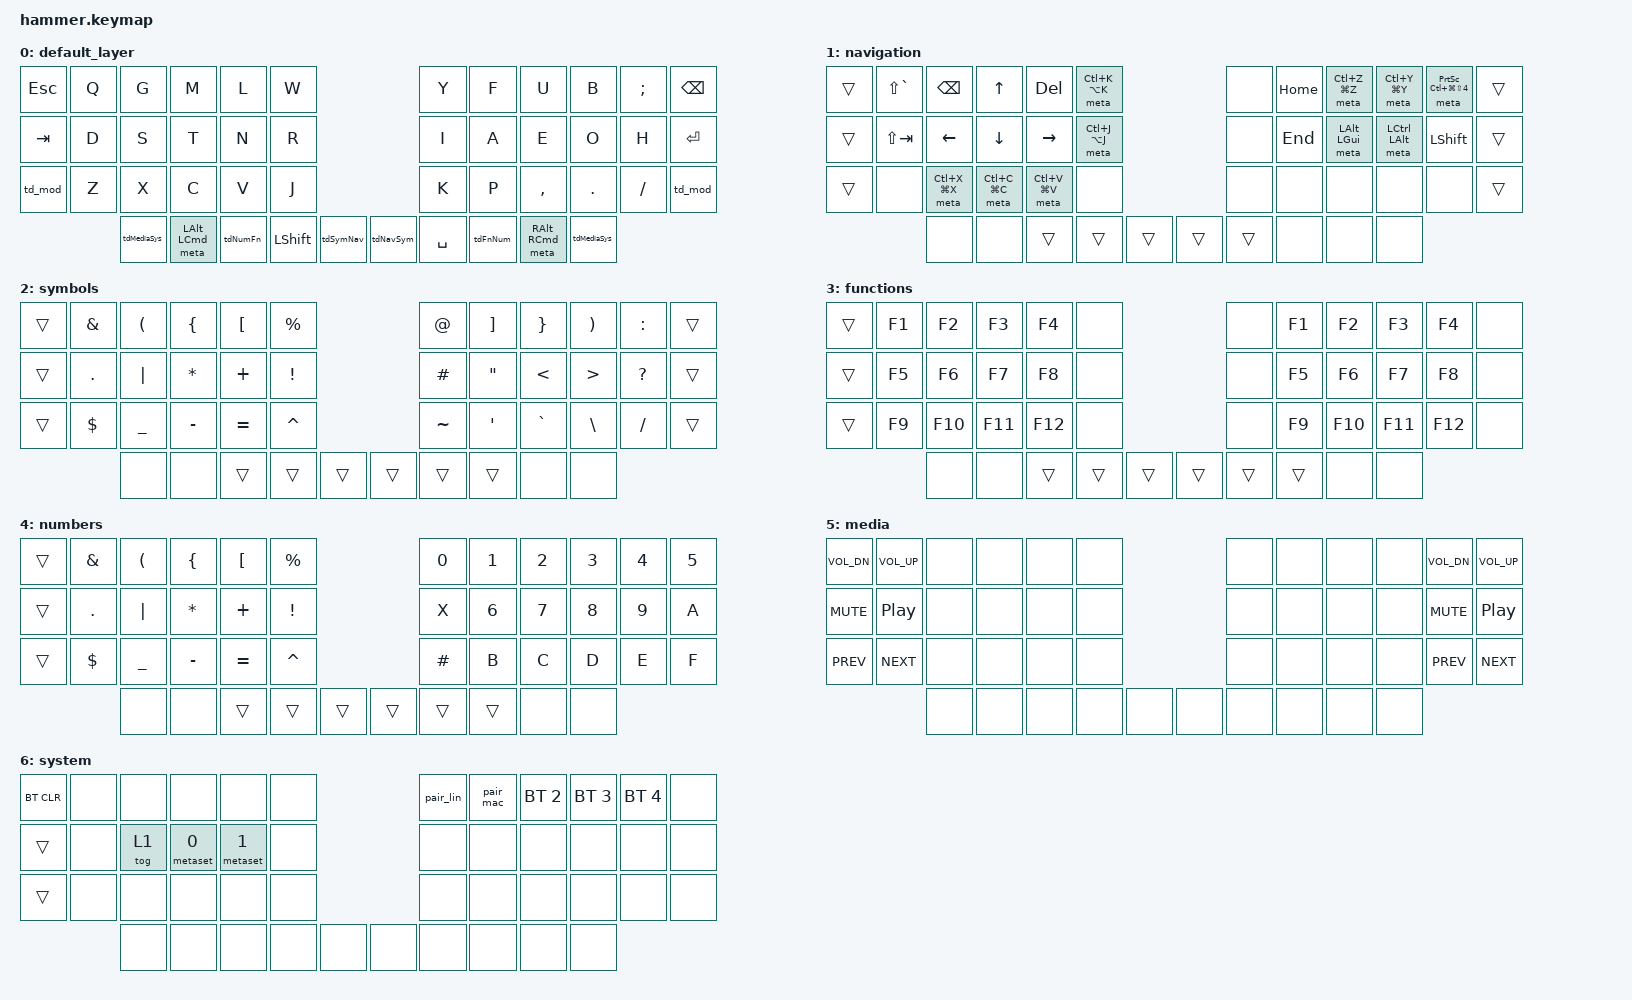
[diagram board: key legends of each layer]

#include <behaviors.dtsi>
#include <dt-bindings/zmk/keys.h>
#include <dt-bindings/zmk/bt.h>
#include <dt-bindings/zmk/reset.h>
#include <dt-bindings/zmk/ext_power.h>  

#define RIGHT_HAND_KEYS <6 7 8 9 10 11 18 19 20 21 22 23 30 31 32 33 34 35>
#define LEFT_HAND_KEYS <0 1 2 3 4 5 12 13 14 15 16 17 24 25 26 27 28 29>
#define HRM_TAPPING_TERM_MS 200
#define HRM_QUICK_TAP_MS 150



/ {
    conditional_layers {
        compatible = "zmk,conditional-layers";
        doubleThumbs {     // 2 thumbs = numbers
            if-layers = <1 2>;
            then-layer = <4>;
        };
    };

     macros {
        pair_mac: pair_mac {
            label = "Pair_Mac";
            compatible = "zmk,behavior-macro";
            #binding-cells = <0>;
            bindings = <&bt BT_SEL 1>, <&metaset 1> ;
        };
        pair_lin: pair_lin {
            label = "Pair_Linux";
            compatible = "zmk,behavior-macro";
            #binding-cells = <0>;
            bindings = <&bt BT_SEL 0>, <&metaset 0>;
        };
        gui_alt: gui_alt {
            label = "gui_alt";
            compatible = "zmk,behavior-macro";
            #binding-cells = <0>;
            bindings = <&meta LGUI LALT>;
        };
        ctrl_gui: ctrl_gui {
            label = "ctrl_alt";
            compatible = "zmk,behavior-macro";
            #binding-cells = <0>;
            bindings = <&meta LCTL LGUI>;
        };
        alt_ctrl: alt_ctrl {
            label = "alt_ctrl";
            compatible = "zmk,behavior-macro";
            #binding-cells = <0>;
            bindings = <&meta LALT LCTL>;
        };
    };

    behaviors {
        tdNavSym: tap_dance_nav_sym {
            compatible = "zmk,behavior-tap-dance";
            label = "TAP_DANCE_NAV_SYM";
            #binding-cells = <0>;
            tapping-term-ms = <500>;
            bindings = <&mo 1>, <&mo 2>;    //hold = navigation, tap+hold = symbols
        };
        tdSymNav: tap_dance_sym_nav {
            compatible = "zmk,behavior-tap-dance";
            label = "TAP_DANCE_SYM_NAV";
            #binding-cells = <0>;
            tapping-term-ms = <500>;
            bindings = <&mo 2>, <&mo 1>;    //hold = symbols, tap+hold = navigation
        };
        tdFnNum: tap_dance_fn_num {
            compatible = "zmk,behavior-tap-dance";
            label = "TAP_DANCE_FN_NUM";
            #binding-cells = <0>;
            tapping-term-ms = <500>;
            bindings = <&mo 3>, <&mo 4>;    //hold = functions, tap+hold = numbers
        };
        tdNumFn: tap_dance_num_fn {
            compatible = "zmk,behavior-tap-dance";
            label = "TAP_DANCE_NUM_FN";
            #binding-cells = <0>;
            tapping-term-ms = <500>;
            bindings = <&mo 4>, <&mo 3>;    //hold = numbers, tap+hold = functions
        };
        tdMediaSys: tap_dance_media_sys {
            compatible = "zmk,behavior-tap-dance";
            label = "TAP_DANCE_MEDIA_SYS";
            #binding-cells = <0>;
            tapping-term-ms = <500>;
            bindings = <&mo 5>, <&mo 6>;    //hold = media, tap+hold = system
        };
        
        // tap dance mods
        td_mod: tap_dance_mod_tap {
            compatible = "zmk,behavior-tap-dance";
            label = "TAP_DANCE_MOD_TAP";
            #binding-cells = <0>;
            tapping-term-ms = <200>;
            bindings = <&meta LCTL LGUI>, <&meta LALT LCTL>, <&meta LGUI LALT>;
        };

        // home row mods
         lh_hrm_0: lh_hrm_0 {
            compatible = "zmk,behavior-hold-tap";
            label = "lh_hrm_0";
            #binding-cells = <2>;
            flavor = "tap-preferred";
            tapping-term-ms = <HRM_TAPPING_TERM_MS>;                        // <---[[produces tap if held longer than tapping-term-ms]]
            quick-tap-ms = <HRM_QUICK_TAP_MS>;
            bindings = <&gui_alt>, <&kp>;
            hold-trigger-key-positions = RIGHT_HAND_KEYS;
            global-quick-tap;
        };
         lh_hrm_1: lh_hrm_1 {
            compatible = "zmk,behavior-hold-tap";
            label = "lh_hrm_1";
            #binding-cells = <2>;
            flavor = "tap-preferred";
            tapping-term-ms = <HRM_TAPPING_TERM_MS>;                        // <---[[produces tap if held longer than tapping-term-ms]]
            quick-tap-ms = <HRM_QUICK_TAP_MS>;
            bindings = <&ctrl_gui>, <&kp>;
            hold-trigger-key-positions = RIGHT_HAND_KEYS;
            global-quick-tap;
        };
         lh_hrm_2: lh_hrm_2 {
            compatible = "zmk,behavior-hold-tap";
            label = "lh_hrm_2";
            #binding-cells = <2>;
            flavor = "tap-preferred";
            tapping-term-ms = <HRM_TAPPING_TERM_MS>;                        // <---[[produces tap if held longer than tapping-term-ms]]
            quick-tap-ms = <HRM_QUICK_TAP_MS>;
            bindings = <&alt_ctrl>, <&kp>;
            hold-trigger-key-positions = RIGHT_HAND_KEYS;
            global-quick-tap;
        };
        rh_hrm_0: rh_hrm_0 {
            compatible = "zmk,behavior-hold-tap";
            label = "rh_hrm_0";
            #binding-cells = <2>;
            flavor = "tap-preferred";
            tapping-term-ms = <HRM_TAPPING_TERM_MS>;                        // <---[[produces tap if held longer than tapping-term-ms]]
            quick-tap-ms = <HRM_QUICK_TAP_MS>;
            bindings = <&gui_alt>, <&kp>;
            hold-trigger-key-positions = LEFT_HAND_KEYS;
            global-quick-tap;
        };
        rh_hrm_1: rh_hrm_1 {
            compatible = "zmk,behavior-hold-tap";
            label = "rh_hrm_1";
            #binding-cells = <2>;
            flavor = "tap-preferred";
            tapping-term-ms = <HRM_TAPPING_TERM_MS>;                        // <---[[produces tap if held longer than tapping-term-ms]]
            quick-tap-ms = <HRM_QUICK_TAP_MS>;
            bindings = <&ctrl_gui>, <&kp>;
            hold-trigger-key-positions = LEFT_HAND_KEYS;
            global-quick-tap;
        };
        rh_hrm_2: rh_hrm_2 {
            compatible = "zmk,behavior-hold-tap";
            label = "rh_hrm_2";
            #binding-cells = <2>;
            flavor = "tap-preferred";
            tapping-term-ms = <HRM_TAPPING_TERM_MS>;                        // <---[[produces tap if held longer than tapping-term-ms]]
            quick-tap-ms = <HRM_QUICK_TAP_MS>;
            bindings = <&alt_ctrl>, <&kp>;
            hold-trigger-key-positions = LEFT_HAND_KEYS;
            global-quick-tap;
        };
    };

    keymap {
        compatible = "zmk,keymap";

//         sturdy {
// /* STURDY (modified)
//     ┌────────┬─────────┬─────────┬─────────┬─────────┬────────┐                                                    ┌────────┬─────────┬─────────┬─────────┬─────────┬────────┐
//     │  ESC   │    Z    │    M    │    L    │    C    │   P    │                                                    │    X   │    F    │    O    │    U    │    J    │ BKSPC  │
//     ├────────┼─────────┼─────────┼─────────┼─────────┼────────┤                                                    ├────────┼─────────┼─────────┼─────────┼─────────┼────────┤
//     │  TAB   │    S    │gui/alt/T│ctl/gui/R│alt/ctl/D│   Y    |                                                    │    .   │alt/ctl/N│ctl/gui/A│gui/alt/E│    I    │ ENTER  │
//     ├────────┼─────────┼─────────┼─────────┼─────────┼────────┤                                                    ├────────┼─────────┼─────────┼─────────┼─────────┼────────┤
//     │ctrl/cmd│    V    │    K    │  QU/Q   │    G    │   W    │                                                    │    B   │    H    │    ;    │    '    │    ,    │ctrl/cmd│
//     └────────┴─────────┼─────────┼─────────┼─────────┼────────┤  ┌────────┐                            ┌────────┐  ├────────┼─────────┼─────────┼─────────┼─────────┴────────┘
//                        │Media/Sys│ctrl/cmd │Func/num │  Shift │  │Nav./sym│                            │Sym/nav.│  │  Space │Num/func │ctrl/cmd |Media/sys│
//                        └─────────┴─────────┴─────────┴────────┘  └────────┘                            └────────┘  └────────┴─────────┴─────────┴─────────┘
//  */
//                         bindings = <
// &kp  ESC         &kp  Z    &kp  M       &kp  L             &kp  C   &kp  P                                              &kp  X        &kp  F   &kp  O           &kp  U     &kp  J       &kp  BSPC
// &kp  TAB         &kp  S    &kp  T       &kp  R             &kp  D   &kp  Y                                              &kp  DOT      &kp  N   &kp  A           &kp  E     &kp  I       &kp  ENTER
// &meta LCTRL LCMD &kp  V    &kp  K       &tdQu              &kp  G   &kp  W                                              &kp  B        &kp  H   &kp  SEMI        &kp  APOS  &kp  COMMA   &meta RCTRL RCMD
//                            &tdMediaSys  &meta LCTRL LCMD   &tdFnNum &kp  LSHIFT   &tdNavSym                 &tdSymNav   &kp  SPACE    &tdNumFn &meta RCTRL RCMD &tdMediaSys
//             >;
//         };

        default_layer {
/* Carpalx QGMLWY
    Left Hand                                                 L. Thumb                              R. Thumb    Right Hand
    ┌────────┬────────┬─────────┬────────┬────────┬────────┐                                                    ┌────────┬────────┬────────┬────────┬────────┬────────┐
    │  ESC   │    Q   │   G     │   M    │   L    │   W    │                                                    │    Y   │   F    │   U    │    B   │   ;    │ BKSPC  │
    ├────────┼────────┼─────────┼────────┼────────┼────────┤                                                    ├────────┼────────┼────────┼────────┼────────┼────────┤
    │  TAB   │    D   │   S     │   T    │   N    │   R    |                                                    │    I   │   A    │   E    │    O   │   H    │ ENTER  │
    ├────────┼────────┼─────────┼────────┼────────┼────────┤                                                    ├────────┼────────┼────────┼────────┼────────┼────────┤
    │Ctrl/Cmd│    Z   │   X     │   C    │   V    │   J    │                                                    │    K   │   P    │   , <  │  . >   │   / ?  │Ctrl/Cmd│
    └────────┴────────┼─────────┼────────┼────────┼────────┤  ┌────────┐                            ┌────────┐  ├────────┼────────┼────────┼────────┼────────┴────────┘
                      │Media/Sys│Ctrl/Cmd│Func/Num│  Shift │  │Sym/nav │                            │Nav/Sym │  │ Space  │Func/Num│Ctrl/Cmd│  ALT   │ 
                      └─────────┴────────┴────────┴────────┘  └────────┘                            └────────┘  └────────┴────────┴────────┴────────┘

 */
                        bindings = <
&kp  ESC         &kp Q       &kp  G           &kp  M            &kp  L        &kp  W                                               &kp  Y        &kp  F        &kp  U           &kp  B         &kp  SEMI       &kp  BSPC
/* &kp  TAB         &kp D       &lh_hrm_0 0 S  &lh_hrm_1 0 T     &lh_hrm_2 0 N &kp  R                                               &kp  I        &rh_hrm_2 0 A &rh_hrm_1 0 E    &rh_hrm_0 0 O  &kp  H          &kp  ENTER */
&kp  TAB         &kp D       &kp S            &kp T             &kp N         &kp  R                                               &kp  I        &kp A         &kp E            &kp O          &kp  H          &kp  ENTER
&td_mod          &kp Z       &kp X            &kp  C            &kp  V        &kp  J                                               &kp  K        &kp  P        &kp  COMMA       &kp  DOT       &kp  SLASH      &td_mod
                             &tdMediaSys      &meta LALT LCMD   &tdNumFn      &kp  LSHIFT   &tdSymNav                  &tdNavSym   &kp  SPACE    &tdFnNum      &meta RALT RCMD  &tdMediaSys
            >;
        };

        navigation {  // 1
/* Navigation
    ┌────────┬─────────┬─────────┬─────────┬─────────┬─────────┐                                                    ┌────────┬─────────┬─────────┬─────────┬─────────┬────────┐
    │        │ shift+` │backspace│   UP    │   DEL   │ctl/alt+K│                                                    │        │   HOME  │   undo  │   redo  │scrnshot │        │
    ├────────┼─────────┼─────────┼─────────┼─────────┼─────────┤                                                    ├────────┼─────────┼─────────┼─────────┼─────────┼────────┤
    │        |shift+tab│   left  │  down   │  right  │ctl/alt+J|                                                    │        │   END   │ alt/cmd │ctrl/alt │         │        │
    ├────────┼─────────┼─────────┼─────────┼─────────┼─────────┤                                                    ├────────┼─────────┼─────────┼─────────┼─────────┼────────┤
    │        │         │   CUT   │  COPY   │  PASTE  │         │                                                    │        │         │         │         │         │        │
    └────────┴─────────┼─────────┼─────────┼─────────┼─────────┤  ┌────────┐                            ┌────────┐  ├────────┼─────────┼─────────┼─────────┼─────────┴────────┘
                       │Media/Sys│ctrl/cmd │Func/num │  Shift  │  │Nav./sym│                            │Sym/nav.│  │  Space │Num/func │ctrl/cmd |Media/sys│
                       └─────────┴─────────┴─────────┴─────────┘  └────────┘                            └────────┘  └────────┴─────────┴─────────┴─────────┘
 */
                        bindings = <
&trans   &kp LS(GRAVE)  &kp BSPC           &kp UP             &kp DEL            &meta LC(K) LA(K)                                  &none   &kp HOME &meta LC(Z) LG(Z) &meta LC(Y) LG(Y) &meta PSCRN LC(LG(LS(N4)))  &trans
&trans   &kp  LS(TAB)   &kp LEFT           &kp DOWN           &kp RIGHT          &meta LC(J) LA(J)                                  &none   &kp END  &meta LALT LGUI   &meta LCTL LALT   &kp LSHIFT                  &trans
&trans   &none          &meta LC(X) LG(X)  &meta LC(C) LG(C)  &meta LC(V) LG(V)  &none                                              &none   &none    &none             &none             &none                       &trans
                        &none              &none              &trans             &trans              &trans                 &trans  &trans  &none    &none             &none 
            >;
        };

        symbols {  // 2
/* Symbols
    Left Hand                                                 L. Thumb                              R. Thumb    Right Hand
    ┌────────┬────────┬────────┬────────┬────────┬────────┐                                                    ┌────────┬────────┬────────┬────────┬────────┬────────┐
    │        │    &   │    (   │    {   │   [    │   %    │                                                    │   @    │   ]    │   }    │   )    │   :    │        │
    ├────────┼────────┼────────┼────────┼────────┼────────┤                                                    ├────────┼────────┼────────┼────────┼────────┼────────┤
    │        │    .   │    |   │    *   │   +    │   !    │                                                    │   `    │   '    │   <    │   >    │   ?    │        │
    ├────────┼────────┼────────┼────────┼────────┼────────┤                                                    ├────────┼────────┼────────┼────────┼────────┼────────┤
    │        │    $   │    _   │    -   │   =    │   ^    │                                                    │   #    │   "    │   ~    │   \    │   /    │        │
    └────────┴────────┼────────┼────────┼────────┼────────┤  ┌────────┐                            ┌────────┐  ├────────┼────────┼────────┼────────┼────────┴────────┘
                      │        │        │        │        │  │        │                            │        │  │        │        │        │        │
                      └────────┴────────┴────────┴────────┘  └────────┘                            └────────┘  └────────┴────────┴────────┴────────┘
 */
                        bindings = <
&trans   &kp AMPS   &kp LPAR   &kp LBRC     &kp LBKT   &kp PERCENT                                  &kp AT     &kp RBKT   &kp RBRC   &kp RPAR   &kp COLON  &trans
&trans   &kp DOT    &kp PIPE   &kp ASTRK    &kp PLUS   &kp EXCL                                     &kp POUND  &kp DQT    &kp LT     &kp GT     &kp QMARK  &trans
&trans   &kp DOLLAR &kp UNDER  &kp MINUS    &kp EQUAL  &kp CARET                                    &kp TILDE  &kp QUOT   &kp GRAVE  &kp BSLH   &kp SLASH  &trans
                    &none      &none        &trans     &trans     &trans                    &trans  &trans     &trans     &none      &none 
            >;
        };

        functions {  // 3
/* ? / F Keys
    Left Hand                                                 L. Thumb                              R. Thumb    Right Hand
    ┌────────┬────────┬────────┬────────┬────────┬────────┐                                                    ┌────────┬────────┬────────┬────────┬────────┬────────┐
    │        │   F1   │   F2   │   F3   │   F4   │ XXXXXX │                                                    │ XXXXXX │   F1   │   F2   │   F3   │   F4   │        │
    ├────────┼────────┼────────┼────────┼────────┼────────┤                                                    ├────────┼────────┼────────┼────────┼────────┼────────┤
    │        │   F5   │   F6   │   F7   │   F8   │ XXXXXX │                                                    │ XXXXXX │   F5   │   F6   │   F7   │   F8   │        │
    ├────────┼────────┼────────┼────────┼────────┼────────┤                                                    ├────────┼────────┼────────┼────────┼────────┼────────┤
    │        │   F9   │   F10  │   F11  │   F12  │ XXXXXX │                                                    │ XXXXXX │   F9   │   F10  │   F11  │   F12  │        │
    └────────┴────────┼────────┼────────┼────────┼────────┤  ┌────────┐                            ┌────────┐  ├────────┼────────┼────────┼────────┼────────┴────────┘
                      │        │        │        │        │  │        │                            │        │  │        │        │        │        │
                      └────────┴────────┴────────┴────────┘  └────────┘                            └────────┘  └────────┴────────┴────────┴────────┘

 */
                        bindings = <
&trans    &kp F1   &kp F2    &kp F3   &kp F4   &none                                         &none        &kp F1  &kp F2   &kp F3    &kp F4   &none
&trans    &kp F5   &kp F6    &kp F7   &kp F8   &none                                         &none        &kp F5  &kp F6   &kp F7    &kp F8   &none
&trans    &kp F9   &kp F10   &kp F11  &kp F12  &none                                         &none        &kp F9  &kp F10  &kp F11   &kp F12  &none
                   &none     &none    &trans   &trans    &trans                 &trans       &trans       &trans  &none    &none 
           >;
        };

        numbers {  // 4
/* ? / Numpad
    Left Hand                                                 L. Thumb                              R. Thumb    Right Hand
    ┌────────┬────────┬────────┬────────┬────────┬────────┐                                                    ┌────────┬────────┬────────┬────────┬────────┬────────┐
    │        │    &   │    (   │    {   │   [    │   %    │                                                    │ NUM 0  │ NUM 1  │ NUM 2  │ NUM 3  │ NUM 4  │ NUM 5  │
    ├────────┼────────┼────────┼────────┼────────┼────────┤                                                    ├────────┼────────┼────────┼────────┼────────┼────────┤
    │        │    .   │    |   │    *   │   +    │   !    │                                                    │   x    │ NUM 6  │ NUM 7  │ NUM 8  │ NUM 9  │    A   │
    ├────────┼────────┼────────┼────────┼────────┼────────┤                                                    ├────────┼────────┼────────┼────────┼────────┼────────┤
    │        │    $   │    _   │    -   │   =    │   ^    │                                                    │   #    │    B   │    C   │    D   │   E    │    F   │
    └────────┴────────┼────────┼────────┼────────┼────────┤  ┌────────┐                            ┌────────┐  ├────────┼────────┼────────┼────────┼────────┴────────┘
                      │        │        │        │        │  │        │                            │        │  │        │        │        │        │
                      └────────┴────────┴────────┴────────┘  └────────┘                            └────────┘  └────────┴────────┴────────┴────────┘

 */
                        bindings = <
&trans   &kp AMPS   &kp LPAR   &kp LBRC     &kp LBKT   &kp PERCENT                           &kp N0     &kp N1   &kp N2   &kp N3   &kp N4   &kp N5
&trans   &kp DOT    &kp PIPE   &kp ASTRK    &kp PLUS   &kp EXCL                              &kp X      &kp N6   &kp N7   &kp N8   &kp N9   &kp A
&trans   &kp DOLLAR &kp UNDER  &kp MINUS    &kp EQUAL  &kp CARET                             &kp POUND  &kp B    &kp C    &kp D    &kp E    &kp F
                    &none      &none        &trans     &trans     &trans             &trans  &trans     &trans   &none    &none 
            >;
        };

        media {  // 5
/* Media / Media
    Left Hand                                                 L. Thumb                              R. Thumb    Right Hand
    ┌────────┬────────┬────────┬────────┬────────┬────────┐                                                    ┌────────┬────────┬────────┬────────┬────────┬────────┐
    │ VOL-   │  VOL+  │ XXXXXX │ XXXXXX │ XXXXXX │ XXXXXX │                                                    │ XXXXXX │ XXXXXX │ XXXXXX │ XXXXXX │ VOL-   │  VOL+  │
    ├────────┼────────┼────────┼────────┼────────┼────────┤                                                    ├────────┼────────┼────────┼────────┼────────┼────────┤
    │  MUTE  │   > || │ XXXXXX │ XXXXXX │ XXXXXX │ XXXXXX │                                                    │ XXXXXX │ XXXXXX │ XXXXXX │ XXXXXX │  MUTE  │   > || │
    ├────────┼────────┼────────┼────────┼────────┼────────┤                                                    ├────────┼────────┼────────┼────────┼────────┼────────┤
    │  <<    │  >>    │ XXXXXX │ XXXXXX │ XXXXXX │ XXXXXX │                                                    │ XXXXXX │ XXXXXX │ XXXXXX │ XXXXXX │  <<    │  >>    │
    └────────┴────────┼────────┼────────┼────────┼────────┤  ┌────────┐                            ┌────────┐  ├────────┼────────┼────────┼────────┼────────┴────────┘
                      │        │        │        │        │  │        │                            │        │  │        │        │        │        │
                      └────────┴────────┴────────┴────────┘  └────────┘                            └────────┘  └────────┴────────┴────────┴────────┘
 */
                        bindings = <
&kp C_VOL_DN  &kp C_VOL_UP &none   &none   &none   &none                                         &none   &none   &none   &none   &kp C_VOL_DN  &kp C_VOL_UP
&kp C_MUTE    &kp C_PP     &none   &none   &none   &none                                         &none   &none   &none   &none   &kp C_MUTE    &kp C_PP
&kp C_PREV    &kp C_NEXT   &none   &none   &none   &none                                         &none   &none   &none   &none   &kp C_PREV    &kp C_NEXT
                           &none   &none   &none   &none     &none                       &none   &none   &none   &none    &none 
            >;
        };


        system {  // 6
/* Bluetooth
    Left Hand                                                 L. Thumb                              R. Thumb    Right Hand
    ┌────────┬────────┬────────┬────────┬────────┬────────┐                                                    ┌────────┬────────┬────────┬────────┬────────┬────────┐
    │ BT CLR │ XXXXXX │ XXXXXX │ XXXXXX │ XXXXXX │ XXXXXX │                                                    │  BT 1  │  BT 2  │  BT 3  │  BT 4  │  BT 5  │ XXXXXX │
    ├────────┼────────┼────────┼────────┼────────┼────────┤                                                    ├────────┼────────┼────────┼────────┼────────┼────────┤
    │ XXXXXX │ XXXXXX │TOG BASE│ win/lin│  osx   │ XXXXXX │                                                    │ XXXXXX │ XXXXXX │ XXXXXX │ XXXXXX │ XXXXXX │ XXXXXX │
    ├────────┼────────┼────────┼────────┼────────┼────────┤                                                    ├────────┼────────┼────────┼────────┼────────┼────────┤
    │ XXXXXX │ XXXXXX │ XXXXXX │ XXXXXX │ XXXXXX │ XXXXXX │                                                    │ XXXXXX │ XXXXXX │ XXXXXX │ XXXXXX │ XXXXXX │ XXXXXX │
    └────────┴────────┼────────┼────────┼────────┼────────┤  ┌────────┐                            ┌────────┐  ├────────┼────────┼────────┼────────┼────────┴────────┘
                      │        │        │        │        │  │        │                            │        │  │        │        │        │        │
                      └────────┴────────┴────────┴────────┘  └────────┘                            └────────┘  └────────┴────────┴────────┴────────┘
 */
                        bindings = <
&bt BT_CLR &none        &none        &none           &none        &none                                         &pair_lin    &pair_mac    &bt BT_SEL 2 &bt BT_SEL 3   &bt BT_SEL 4    &none
&trans     &none        &tog 1       &metaset 0      &metaset 1   &none                                         &none        &none        &none        &none          &none           &none
&trans     &none        &none        &none           &none        &none                                         &none        &none        &none        &none          &none           &none
                        &none        &none           &none        &none       &none                  &none      &none        &none        &none        &none 
            >;
        };
    };
};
